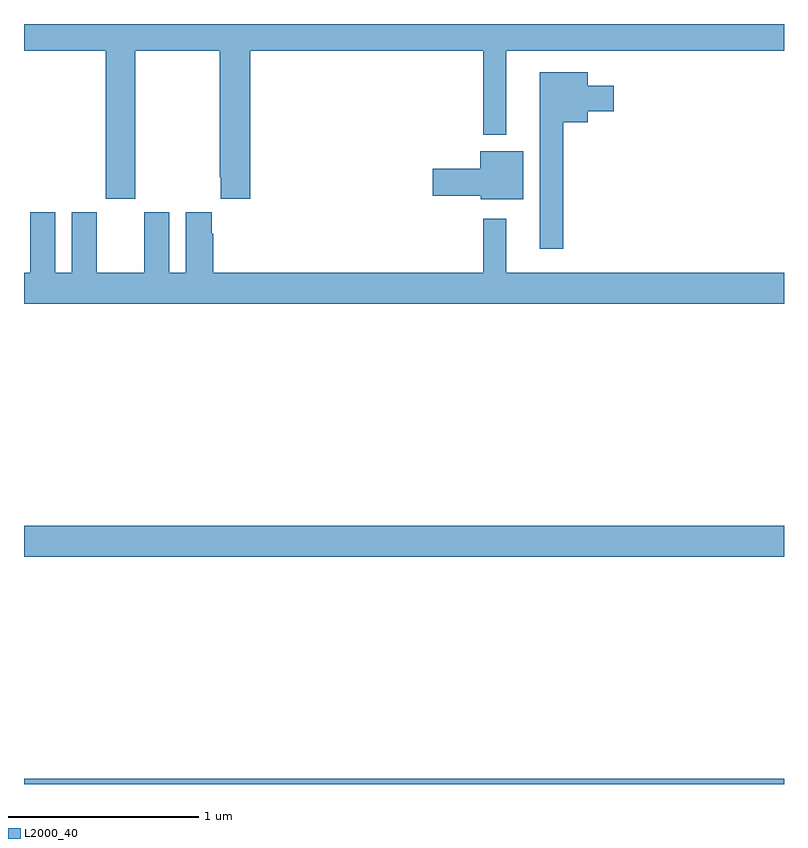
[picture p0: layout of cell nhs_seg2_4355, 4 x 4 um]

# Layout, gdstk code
import gdstk
lib = gdstk.Library(unit=1e-6, precision=1e-09)
def R(c, l, rs):  # rectangles x0, y0, x1, y1
    for r in rs: c.add(gdstk.rectangle(r[:2], r[2:], *l))
def P(c, l, *ps):  # polygons
    for p in ps: c.add(gdstk.Polygon(p, *l))
L2000_40 = (2000, 40)

nhs_seg2_4355 = lib.new_cell('nhs_seg2_4355')
R(nhs_seg2_4355, L2000_40, [(347,619.8,351,619.828), (347,620.996,351,621.16)])
P(nhs_seg2_4355, L2000_40, [(347.586,623.66),(348.031,623.66),(348.031,622.993),(348.035,622.993),(348.035,622.881),(348.191,622.881),(348.191,623.66),(349.416,623.66),(349.416,623.216),(349.537,623.216),(349.537,623.66),(351,623.66),(351,623.8),(347,623.8),(347,623.66),(347.431,623.66),(347.431,622.881),(347.586,622.881)],
  [(349.837,623.282),(349.966,623.282),(349.966,623.342),(350.104,623.342),(350.104,623.476),(349.966,623.476),(349.966,623.545),(349.715,623.545),(349.715,622.617),(349.837,622.617)],
  [(349.627,623.131),(349.4,623.131),(349.4,623.039),(349.152,623.039),(349.152,622.897),(349.404,622.897),(349.404,622.877),(349.627,622.877)],
  [(351,622.492),(349.537,622.492),(349.537,622.774),(349.416,622.774),(349.416,622.492),(347.996,622.492),(347.996,622.697),(347.989,622.697),(347.989,622.81),(347.852,622.81),(347.852,622.492),(347.764,622.492),(347.764,622.81),(347.633,622.81),(347.633,622.492),(347.383,622.492),(347.383,622.81),(347.252,622.81),(347.252,622.492),(347.164,622.492),(347.164,622.81),(347.033,622.81),(347.033,622.492),(347,622.492),(347,622.328),(351,622.328)])

lib.write_gds('nhs_seg2_4355.gds')
